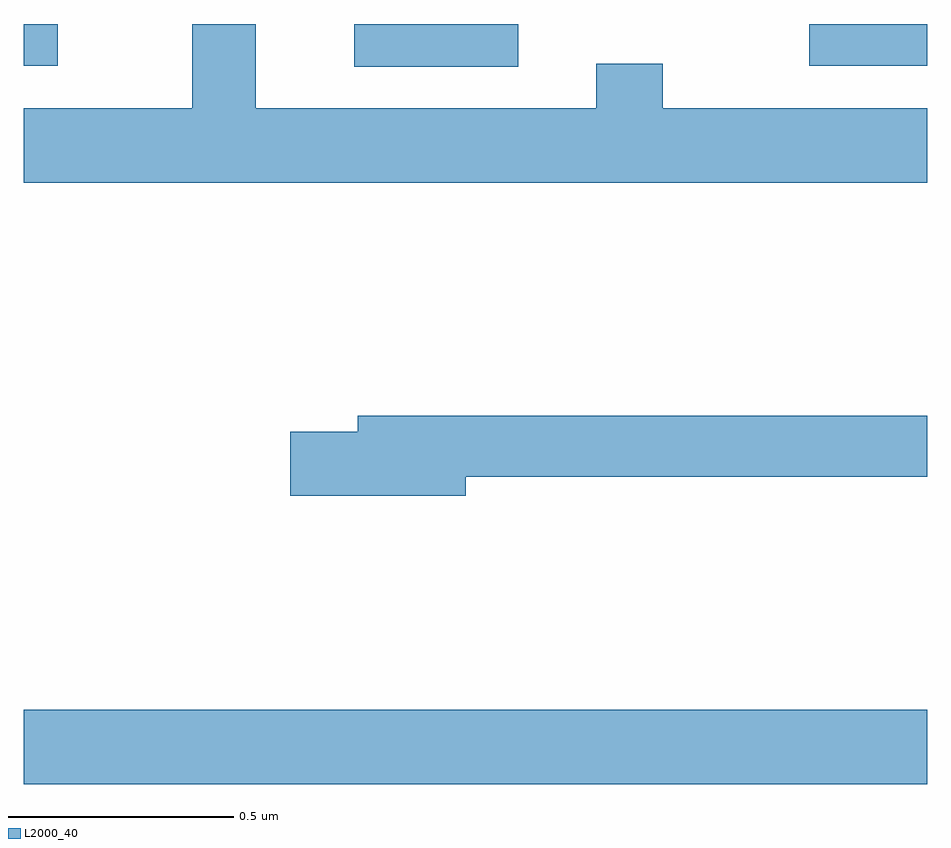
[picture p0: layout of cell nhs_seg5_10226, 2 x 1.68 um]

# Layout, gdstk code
import gdstk
lib = gdstk.Library(unit=1e-6, precision=1e-09)
def R(c, l, rs):  # rectangles x0, y0, x1, y1
    for r in rs: c.add(gdstk.rectangle(r[:2], r[2:], *l))
def P(c, l, *ps):  # polygons
    for p in ps: c.add(gdstk.Polygon(p, *l))
L2000_40 = (2000, 40)

nhs_seg5_10226 = lib.new_cell('nhs_seg5_10226')
R(nhs_seg5_10226, L2000_40, [(244,834.116,246,834.28), (244.731,835.704,245.095,835.799), (244,835.707,244.075,835.799), (245.739,835.707,246,835.799)])
P(nhs_seg5_10226, L2000_40, [(246,835.612),(245.415,835.612),(245.415,835.711),(245.267,835.711),(245.267,835.612),(244.513,835.612),(244.513,835.799),(244.373,835.799),(244.373,835.612),(244,835.612),(244,835.448),(246,835.448)],
  [(244.978,834.796),(246,834.796),(246,834.932),(244.739,834.932),(244.739,834.896),(244.59,834.896),(244.59,834.754),(244.978,834.754)])

lib.write_gds('nhs_seg5_10226.gds')
